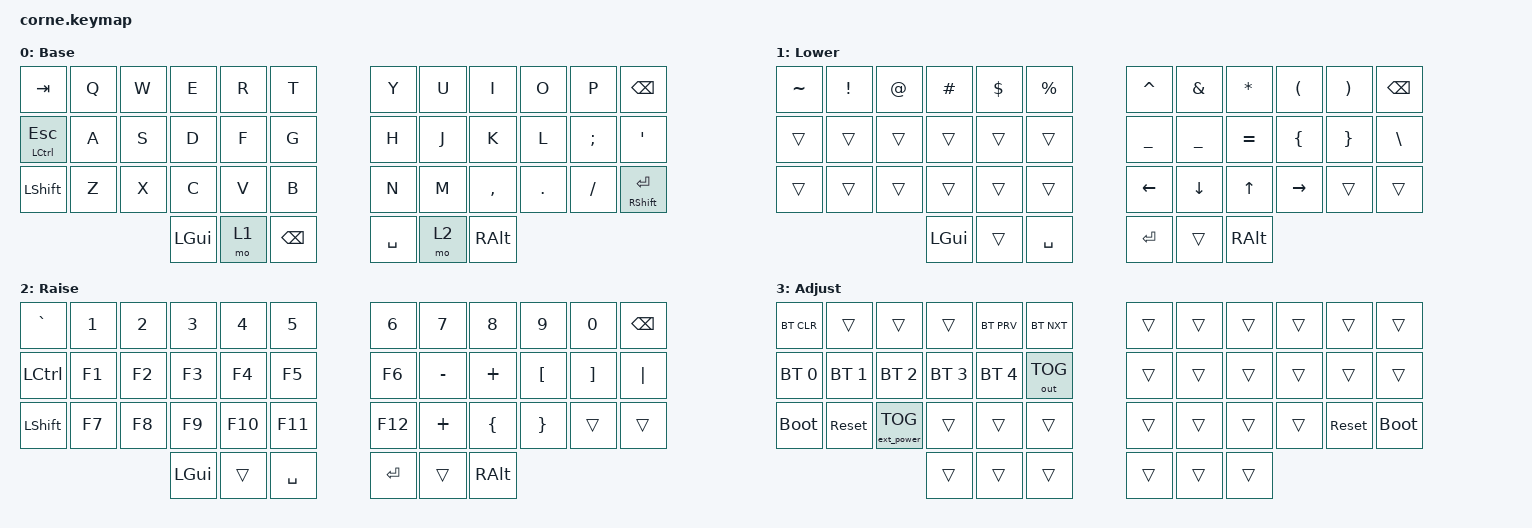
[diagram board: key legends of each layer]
/*
 * Copyright (c) 2020 The ZMK Contributors
 *
 * SPDX-License-Identifier: MIT
 */

#include <behaviors.dtsi>
#include <dt-bindings/zmk/bt.h>
#include <dt-bindings/zmk/ext_power.h>
#include <dt-bindings/zmk/keys.h>
#include <dt-bindings/zmk/outputs.h>

#define BASE 0
#define LOWER  1
#define RAISE 2
#define ADJ  3

/ {
    combos {
        compatible = "zmk,combos";

        adjust {
            bindings = <&mo 3>;
            key-positions = <37 40>;
            layers = <0>;
        };

        right_adjust {
            bindings = <&mo 3>;
            key-positions = <11 40>;
        };

        left_adjust {
            bindings = <&mo 3>;
            key-positions = <0 37>;
        };
    };

    keymap {
        compatible = "zmk,keymap";

        default_layer {
            // -----------------------------------------------------------------------------------------
            // |  TAB |  Q  |  W  |  E  |  R  |  T  |   |  Y  |  U   |  I  |  O  |  P  | BKSP |
            // | CTRL |  A  |  S  |  D  |  F  |  G  |   |  H  |  J   |  K  |  L  |  ;  |  '   |
            // | SHFT |  Z  |  X  |  C  |  V  |  B  |   |  N  |  M   |  ,  |  .  |  /  | ESC  |
            //                    | GUI | LWR | SPC |   | ENT | RSE  | ALT |

            display-name = "Base";
            bindings = <
&kp TAB           &kp Q  &kp W  &kp E     &kp R  &kp T            &kp Y      &kp U  &kp I      &kp O    &kp P     &kp BSPC
&mt LCTRL ESCAPE  &kp A  &kp S  &kp D     &kp F  &kp G            &kp H      &kp J  &kp K      &kp L    &kp SEMI  &kp SQT
&kp LSHFT         &kp Z  &kp X  &kp C     &kp V  &kp B            &kp N      &kp M  &kp COMMA  &kp DOT  &kp FSLH  &mt RIGHT_SHIFT ENTER
                                &kp LGUI  &mo 1  &kp BACKSPACE    &kp SPACE  &mo 2  &kp RALT
            >;
        };

        lower_layer {
            // -----------------------------------------------------------------------------------------
            // |  TAB |  1  |  2  |  3  |  4  |  5  |   |  6  |  7  |  8  |  9  |  0  | BKSP |
            // | BTCLR| BT1 | BT2 | BT3 | BT4 | BT5 |   | LFT | DWN |  UP | RGT |     |      |
            // | SHFT |     |     |     |     |     |   |     |     |     |     |     |      |
            //                    | GUI |     | SPC |   | ENT |     | ALT |

            display-name = "Lower";
            bindings = <
&kp TILDE  &kp EXCLAMATION  &kp AT_SIGN  &kp HASH  &kp DOLLAR  &kp PERCENT    &kp CARET       &kp AMPERSAND   &kp ASTERISK  &kp LEFT_PARENTHESIS  &kp RIGHT_PARENTHESIS  &kp BSPC
&trans     &trans           &trans       &trans    &trans      &trans         &kp UNDERSCORE  &kp UNDERSCORE  &kp EQUAL     &kp LEFT_BRACE        &kp RIGHT_BRACE        &kp BACKSLASH
&trans     &trans           &trans       &trans    &trans      &trans         &kp LEFT_ARROW  &kp DOWN_ARROW  &kp UP_ARROW  &kp RIGHT_ARROW       &trans                 &trans
                                         &kp LGUI  &trans      &kp SPACE      &kp RET         &trans          &kp RALT
            >;
        };

        raise_layer {
            // -----------------------------------------------------------------------------------------
            // |  TAB |  !  |  @  |  #  |  $  |  %  |   |  ^  |  &  |  *  |  (  |  )  | BKSP |
            // | CTRL |     |     |     |     |     |   |  -  |  =  |  [  |  ]  |  \  |  `   |
            // | SHFT |     |     |     |     |     |   |  _  |  +  |  {  |  }  | "|" |  ~   |
            //                    | GUI |     | SPC |   | ENT |     | ALT |

            display-name = "Raise";
            bindings = <
&kp GRAVE  &kp NUMBER_1  &kp NUMBER_2  &kp NUMBER_3  &kp NUMBER_4  &kp NUMBER_5    &kp NUMBER_6  &kp NUMBER_7  &kp NUMBER_8   &kp NUMBER_9      &kp NUMBER_0       &kp BSPC
&kp LCTRL  &kp F1        &kp F2        &kp F3        &kp F4        &kp F5          &kp F6        &kp MINUS     &kp PLUS       &kp LEFT_BRACKET  &kp RIGHT_BRACKET  &kp PIPE
&kp LSHFT  &kp F7        &kp F8        &kp F9        &kp F10       &kp F11         &kp F12       &kp PLUS      &kp LBRC       &kp RBRC          &trans             &trans
                                       &kp LGUI      &trans        &kp SPACE       &kp RET       &trans        &kp RIGHT_ALT
            >;
        };

        adjust {
            display-name = "Adjust";
            bindings = <
&bt BT_CLR    &trans        &trans             &trans        &bt BT_PRV    &bt BT_NXT      &trans  &trans  &trans  &trans  &trans      &trans
&bt BT_SEL 0  &bt BT_SEL 1  &bt BT_SEL 2       &bt BT_SEL 3  &bt BT_SEL 4  &out OUT_TOG    &trans  &trans  &trans  &trans  &trans      &trans
&bootloader   &sys_reset    &ext_power EP_TOG  &trans        &trans        &trans          &trans  &trans  &trans  &trans  &sys_reset  &bootloader
                                               &trans        &trans        &trans          &trans  &trans  &trans
            >;
        };
    };
};
